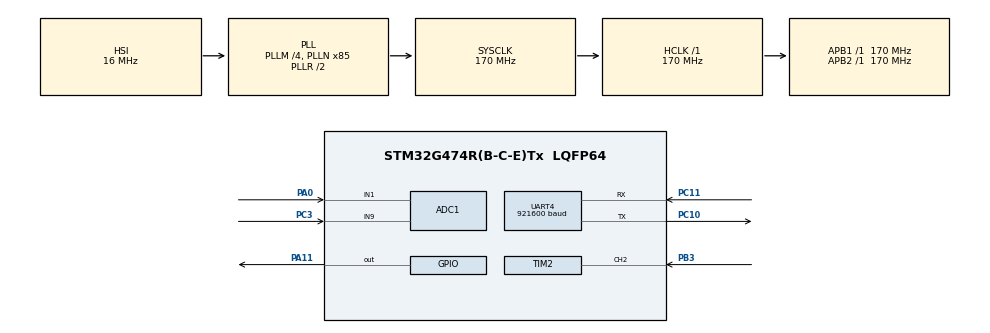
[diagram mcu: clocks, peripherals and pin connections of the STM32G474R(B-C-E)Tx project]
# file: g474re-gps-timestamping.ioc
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ADC1.Channel-0\#ChannelRegularConversion=ADC_CHANNEL_1
ADC1.ClockPrescaler=ADC_CLOCK_SYNC_PCLK_DIV4
ADC1.ContinuousConvMode=DISABLE
ADC1.DMAContinuousRequests=ENABLE
ADC1.EnableRegularConversion=ENABLE
ADC1.ExternalTrigConv=ADC_EXTERNALTRIG_T3_TRGO
ADC1.ExternalTrigConvEdge=ADC_EXTERNALTRIGCONVEDGE_RISING
ADC1.NbrOfConversion=1
ADC1.NbrOfConversionFlag=1
ADC1.OffsetNumber-0\#ChannelRegularConversion=ADC_OFFSET_NONE
ADC1.Overrun=ADC_OVR_DATA_PRESERVED
ADC1.Rank-0\#ChannelRegularConversion=1
ADC1.SamplingTime-0\#ChannelRegularConversion=ADC_SAMPLETIME_2CYCLES_5
ADC1.master=1
Dma.ADC1.1.Direction=DMA_PERIPH_TO_MEMORY
Dma.ADC1.1.EventEnable=DISABLE
Dma.ADC1.1.Instance=DMA1_Channel2
Dma.ADC1.1.MemDataAlignment=DMA_MDATAALIGN_WORD
Dma.ADC1.1.MemInc=DMA_MINC_ENABLE
Dma.ADC1.1.Mode=DMA_CIRCULAR
Dma.ADC1.1.PeriphDataAlignment=DMA_PDATAALIGN_WORD
Dma.ADC1.1.PeriphInc=DMA_PINC_DISABLE
Dma.ADC1.1.Polarity=HAL_DMAMUX_REQ_GEN_RISING
Dma.ADC1.1.Priority=DMA_PRIORITY_LOW
Dma.ADC1.1.RequestNumber=1
Dma.ADC1.1.SignalID=NONE
Dma.ADC1.1.SyncEnable=DISABLE
Dma.ADC1.1.SyncPolarity=HAL_DMAMUX_SYNC_NO_EVENT
Dma.ADC1.1.SyncRequestNumber=1
Dma.ADC1.1.SyncSignalID=NONE
Dma.Request0=TIM2_CH2
Dma.Request1=ADC1
Dma.Request2=TIM3_CH1
Dma.TIM2_CH2.0.Direction=DMA_PERIPH_TO_MEMORY
Dma.TIM2_CH2.0.EventEnable=ENABLE
Dma.TIM2_CH2.0.Instance=DMA1_Channel1
Dma.TIM2_CH2.0.MemDataAlignment=DMA_MDATAALIGN_WORD
Dma.TIM2_CH2.0.MemInc=DMA_MINC_ENABLE
Dma.TIM2_CH2.0.Mode=DMA_CIRCULAR
Dma.TIM2_CH2.0.PeriphDataAlignment=DMA_PDATAALIGN_WORD
Dma.TIM2_CH2.0.PeriphInc=DMA_PINC_DISABLE
Dma.TIM2_CH2.0.Polarity=HAL_DMAMUX_REQ_GEN_RISING
Dma.TIM2_CH2.0.Priority=DMA_PRIORITY_LOW
Dma.TIM2_CH2.0.RequestNumber=1
Dma.TIM2_CH2.0.SignalID=NONE
Dma.TIM2_CH2.0.SyncEnable=DISABLE
Dma.TIM2_CH2.0.SyncPolarity=HAL_DMAMUX_SYNC_NO_EVENT
Dma.TIM2_CH2.0.SyncRequestNumber=1
Dma.TIM2_CH2.0.SyncSignalID=NONE
Dma.TIM3_CH1.2.Direction=DMA_PERIPH_TO_MEMORY
Dma.TIM3_CH1.2.EventEnable=DISABLE
Dma.TIM3_CH1.2.Instance=DMA1_Channel3
Dma.TIM3_CH1.2.MemDataAlignment=DMA_MDATAALIGN_WORD
Dma.TIM3_CH1.2.MemInc=DMA_MINC_ENABLE
Dma.TIM3_CH1.2.Mode=DMA_CIRCULAR
Dma.TIM3_CH1.2.PeriphDataAlignment=DMA_PDATAALIGN_WORD
Dma.TIM3_CH1.2.PeriphInc=DMA_PINC_DISABLE
Dma.TIM3_CH1.2.Polarity=HAL_DMAMUX_REQ_GEN_RISING
Dma.TIM3_CH1.2.Priority=DMA_PRIORITY_LOW
Dma.TIM3_CH1.2.RequestNumber=1
Dma.TIM3_CH1.2.SignalID=NONE
Dma.TIM3_CH1.2.SyncEnable=DISABLE
Dma.TIM3_CH1.2.SyncPolarity=HAL_DMAMUX_SYNC_NO_EVENT
Dma.TIM3_CH1.2.SyncRequestNumber=1
Dma.TIM3_CH1.2.SyncSignalID=NONE
Mcu.Family=STM32G4
Mcu.Name=STM32G474R(B-C-E)Tx
Mcu.Package=LQFP64
NVIC.ADC1_2_IRQn=true\:0\:0\:false\:false\:true\:true\:true\:true
NVIC.DMA1_Channel1_IRQn=true\:0\:0\:false\:false\:true\:false\:true\:true
NVIC.DMA1_Channel2_IRQn=true\:0\:0\:false\:false\:true\:false\:true\:true
NVIC.DMA1_Channel3_IRQn=true\:0\:0\:false\:false\:true\:false\:true\:true
NVIC.DMAMUX_OVR_IRQn=true\:0\:0\:false\:false\:true\:false\:true\:true
NVIC.PriorityGroup=NVIC_PRIORITYGROUP_4
NVIC.TIM2_IRQn=true\:0\:0\:false\:false\:true\:true\:true\:true
NVIC.TIM3_IRQn=true\:0\:0\:false\:false\:true\:true\:true\:true
PA0.Mode=IN1-Single-Ended
PA0.Signal=ADC1_IN1
PA11.Signal=GPIO_Output
PB3.Signal=S_TIM2_CH2
PC10.Mode=Asynchronous
PC10.Signal=UART4_TX
PC11.Mode=Asynchronous
PC11.Signal=UART4_RX
PC14-OSC32_IN.Mode=LSE-External-Oscillator
PC14-OSC32_IN.Signal=RCC_OSC32_IN
PC15-OSC32_OUT.Mode=LSE-External-Oscillator
PC15-OSC32_OUT.Signal=RCC_OSC32_OUT
PC3.Mode=IN9-Single-Ended
PC3.Signal=ADC1_IN9
PF0-OSC_IN.Mode=HSE-External-Oscillator
PF0-OSC_IN.Signal=RCC_OSC_IN
PF1-OSC_OUT.Mode=HSE-External-Oscillator
PF1-OSC_OUT.Signal=RCC_OSC_OUT
ProjectManager.HeapSize=0x200
ProjectManager.StackSize=0x400
ProjectManager.TargetToolchain=STM32CubeIDE
RCC.ADC12Freq_Value=170000000
RCC.ADC345Freq_Value=170000000
RCC.AHBFreq_Value=170000000
RCC.APB1Freq_Value=170000000
RCC.APB1TimFreq_Value=170000000
RCC.APB2Freq_Value=170000000
RCC.APB2TimFreq_Value=170000000
RCC.CortexFreq_Value=170000000
RCC.EXTERNAL_CLOCK_VALUE=12288000
RCC.HCLKFreq_Value=170000000
RCC.HSE_VALUE=8000000
RCC.HSI48_VALUE=48000000
RCC.HSI_VALUE=16000000
RCC.PLLM=RCC_PLLM_DIV4
RCC.PLLN=85
RCC.SYSCLKFreq_VALUE=170000000
RCC.SYSCLKSource=RCC_SYSCLKSOURCE_PLLCLK
RCC.USBFreq_Value=170000000
RCC.VCOOutputFreq_Value=340000000
SH.S_TIM2_CH2.0=TIM2_CH2,Input_Capture2_from_TI2
TIM1.Prescaler=170 - 1
TIM2.AutoReloadPreload=TIM_AUTORELOAD_PRELOAD_ENABLE
TIM2.Channel-Input_Capture2_from_TI2=TIM_CHANNEL_2
TIM2.PeriodNoDither=100000000 - 1
TIM2.Prescaler=17 - 1
TIM3.AutoReloadPreload=TIM_AUTORELOAD_PRELOAD_ENABLE
TIM3.Channel-Output\ Compare1\ No\ Output=TIM_CHANNEL_1
TIM3.PeriodNoDither=tim3Arr
TIM3.Prescaler=0
TIM3.TIM_MasterOutputTrigger=TIM_TRGO_UPDATE
UART4.BaudRate=921600
UART4.Mode=MODE_TX_RX
VP_SYS_VS_DBSignals.Mode=DisableDeadBatterySignals
VP_TIM1_VS_ClockSourceINT.Mode=Internal
VP_TIM2_VS_ClockSourceINT.Mode=Internal
VP_TIM3_VS_ClockSourceINT.Mode=Internal
VP_TIM3_VS_no_output1.Mode=Output Compare1 No Output
board=custom

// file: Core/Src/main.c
/* USER CODE BEGIN Header */
/**
  ******************************************************************************
  * @file           : main.c
  * @brief          : Main program body
  ******************************************************************************
  * @attention
  *
  * Copyright (c) 2025 STMicroelectronics.
  * All rights reserved.
  *
  * This software is licensed under terms that can be found in the LICENSE file
  * in the root directory of this software component.
  * If no LICENSE file comes with this software, it is provided AS-IS.
  *
  ******************************************************************************
  */
/* USER CODE END Header */
#include "main.h"

/* USER CODE BEGIN Includes */
#include <string.h>
#include <stdlib.h>
#include "config.h"
/* USER CODE END Includes */

/* USER CODE BEGIN PTD */
typedef struct
{
  uint32_t magic;
  uint32_t adcTime;
  uint32_t pps1;
  uint32_t pps2;
  uint16_t adcData1;
  uint16_t adcData2;
} MsgType;
/* USER CODE END PTD */

ADC_HandleTypeDef hadc1;
DMA_HandleTypeDef hdma_adc1;

TIM_HandleTypeDef htim1;
TIM_HandleTypeDef htim2;
TIM_HandleTypeDef htim3;
DMA_HandleTypeDef hdma_tim2_ch2;
DMA_HandleTypeDef hdma_tim3_ch1;

UART_HandleTypeDef huart4;

/* USER CODE BEGIN PV */
MsgType msg = {0xDDDDAC00, 11111111, 11111111, 11111111, 1, 1};
const uint32_t sendUartPeriodUs = (uint32_t)(1.0f/(float)UART_SEND_FREQUENCY_HZ * 1e6f);
const uint32_t tim3Arr = (170*1e6 / ADC_SAMPLING_FREQUENCY_HZ);

/* USER CODE END PV */

void SystemClock_Config(void);
static void MX_GPIO_Init(void);
static void MX_DMA_Init(void);
static void MX_UART4_Init(void);
static void MX_TIM2_Init(void);
static void MX_ADC1_Init(void);
static void MX_TIM3_Init(void);
static void MX_TIM1_Init(void);

/* USER CODE BEGIN 0 */
void UartSend(UART_HandleTypeDef *huart, uint8_t* buff, size_t size)
{
  HAL_UART_Transmit(huart, buff, size, HAL_MAX_DELAY);
}

void HAL_TIM_IC_CaptureCallback(TIM_HandleTypeDef *htim)
{
  if (htim == &htim2)
  {
    msg.pps1 = TIM2->CNT;
  }
}

uint32_t GetTimer1Counter()
{
  return __HAL_TIM_GET_COUNTER(&htim1);
}

void ResetTimer1Counter()
{
  __HAL_TIM_SET_COUNTER(&htim1, 0);
}

void Delay_us(uint16_t us)
{
  ResetTimer1Counter();
  while (GetTimer1Counter() < us);
}

/* USER CODE END 0 */

int main(void)
{

  /* MCU Configuration--------------------------------------------------------*/

  /* Reset of all peripherals, Initializes the Flash interface and the Systick. */
  HAL_Init();

  /* Configure the system clock */
  SystemClock_Config();

  /* Initialize all configured peripherals */
  MX_GPIO_Init();
  MX_DMA_Init();
  MX_UART4_Init();
  MX_TIM2_Init();
  MX_ADC1_Init();
  MX_TIM3_Init();
  MX_TIM1_Init();
  /* USER CODE BEGIN 2 */

  if (HAL_OK != HAL_TIM_Base_Start(&htim1))
    {
      Error_Handler ();
    }

  if (HAL_OK != HAL_TIM_OC_Start(&htim3, TIM_CHANNEL_1))
  {
    Error_Handler ();
  }

  if (HAL_OK != HAL_ADCEx_Calibration_Start(&hadc1, ADC_SINGLE_ENDED))
  {
    Error_Handler();
  }

  if (HAL_ADC_Start_DMA(&hadc1, (uint32_t*)&msg.adcData1, 1) != HAL_OK)
  {
    Error_Handler();
  }

  //TIMER2 Input Capture CH2 -> pps signal
  if (HAL_OK != HAL_TIM_IC_Start_IT(&htim2, TIM_CHANNEL_2))
  {
    Error_Handler ();
  }

  if (HAL_OK != HAL_DMA_Start(&hdma_tim3_ch1, (uint32_t)&(TIM2->CNT), (uint32_t)&(msg.adcTime), (uint32_t)1))
  {
    Error_Handler ();
  }

  __HAL_TIM_ENABLE_DMA(&htim3, TIM_DMA_CC1);

  /* USER CODE END 2 */

  /* Infinite loop */
  while (1)
  {

    /* USER CODE BEGIN 3 */

    //start measuring execution time
    ResetTimer1Counter();

    MsgType tempMsg = {0};
    //disabling interrupt will prevent a spike in PPS (data race: uart reading msg, pps writing to msg)
    HAL_NVIC_DisableIRQ(TIM2_IRQn);
    memcpy(&tempMsg, &msg, sizeof(MsgType));
    HAL_NVIC_EnableIRQ(TIM2_IRQn);

    UartSend(&huart4, (uint8_t*)&tempMsg, sizeof(MsgType));

    uint32_t executionTimeUs = GetTimer1Counter();
    Delay_us(executionTimeUs < sendUartPeriodUs ? sendUartPeriodUs - executionTimeUs : 0u);
  }
  /* USER CODE END 3 */
}

void SystemClock_Config(void)
{
  RCC_OscInitTypeDef RCC_OscInitStruct = {0};
  RCC_ClkInitTypeDef RCC_ClkInitStruct = {0};

  /** Configure the main internal regulator output voltage
  */
  HAL_PWREx_ControlVoltageScaling(PWR_REGULATOR_VOLTAGE_SCALE1_BOOST);

  /** Initializes the RCC Oscillators according to the specified parameters
  * in the RCC_OscInitTypeDef structure.
  */
  RCC_OscInitStruct.OscillatorType = RCC_OSCILLATORTYPE_HSI;
  RCC_OscInitStruct.HSIState = RCC_HSI_ON;
  RCC_OscInitStruct.HSICalibrationValue = RCC_HSICALIBRATION_DEFAULT;
  RCC_OscInitStruct.PLL.PLLState = RCC_PLL_ON;
  RCC_OscInitStruct.PLL.PLLSource = RCC_PLLSOURCE_HSI;
  RCC_OscInitStruct.PLL.PLLM = RCC_PLLM_DIV4;
  RCC_OscInitStruct.PLL.PLLN = 85;
  RCC_OscInitStruct.PLL.PLLP = RCC_PLLP_DIV2;
  RCC_OscInitStruct.PLL.PLLQ = RCC_PLLQ_DIV2;
  RCC_OscInitStruct.PLL.PLLR = RCC_PLLR_DIV2;
  if (HAL_RCC_OscConfig(&RCC_OscInitStruct) != HAL_OK)
  {
    Error_Handler();
  }

  /** Initializes the CPU, AHB and APB buses clocks
  */
  RCC_ClkInitStruct.ClockType = RCC_CLOCKTYPE_HCLK|RCC_CLOCKTYPE_SYSCLK
                              |RCC_CLOCKTYPE_PCLK1|RCC_CLOCKTYPE_PCLK2;
  RCC_ClkInitStruct.SYSCLKSource = RCC_SYSCLKSOURCE_PLLCLK;
  RCC_ClkInitStruct.AHBCLKDivider = RCC_SYSCLK_DIV1;
  RCC_ClkInitStruct.APB1CLKDivider = RCC_HCLK_DIV1;
  RCC_ClkInitStruct.APB2CLKDivider = RCC_HCLK_DIV1;

  if (HAL_RCC_ClockConfig(&RCC_ClkInitStruct, FLASH_LATENCY_4) != HAL_OK)
  {
    Error_Handler();
  }
}

static void MX_ADC1_Init(void)
{

  ADC_MultiModeTypeDef multimode = {0};
  ADC_ChannelConfTypeDef sConfig = {0};

  /** Common config
  */
  hadc1.Instance = ADC1;
  hadc1.Init.ClockPrescaler = ADC_CLOCK_SYNC_PCLK_DIV4;
  hadc1.Init.Resolution = ADC_RESOLUTION_12B;
  hadc1.Init.DataAlign = ADC_DATAALIGN_RIGHT;
  hadc1.Init.GainCompensation = 0;
  hadc1.Init.ScanConvMode = ADC_SCAN_DISABLE;
  hadc1.Init.EOCSelection = ADC_EOC_SINGLE_CONV;
  hadc1.Init.LowPowerAutoWait = DISABLE;
  hadc1.Init.ContinuousConvMode = DISABLE;
  hadc1.Init.NbrOfConversion = 1;
  hadc1.Init.DiscontinuousConvMode = DISABLE;
  hadc1.Init.ExternalTrigConv = ADC_EXTERNALTRIG_T3_TRGO;
  hadc1.Init.ExternalTrigConvEdge = ADC_EXTERNALTRIGCONVEDGE_RISING;
  hadc1.Init.DMAContinuousRequests = ENABLE;
  hadc1.Init.Overrun = ADC_OVR_DATA_PRESERVED;
  hadc1.Init.OversamplingMode = DISABLE;
  if (HAL_ADC_Init(&hadc1) != HAL_OK)
  {
    Error_Handler();
  }

  /** Configure the ADC multi-mode
  */
  multimode.Mode = ADC_MODE_INDEPENDENT;
  if (HAL_ADCEx_MultiModeConfigChannel(&hadc1, &multimode) != HAL_OK)
  {
    Error_Handler();
  }

  /** Configure Regular Channel
  */
  sConfig.Channel = ADC_CHANNEL_1;
  sConfig.Rank = ADC_REGULAR_RANK_1;
  sConfig.SamplingTime = ADC_SAMPLETIME_2CYCLES_5;
  sConfig.SingleDiff = ADC_SINGLE_ENDED;
  sConfig.OffsetNumber = ADC_OFFSET_NONE;
  sConfig.Offset = 0;
  if (HAL_ADC_ConfigChannel(&hadc1, &sConfig) != HAL_OK)
  {
    Error_Handler();
  }

}

static void MX_TIM1_Init(void)
{

  TIM_ClockConfigTypeDef sClockSourceConfig = {0};
  TIM_MasterConfigTypeDef sMasterConfig = {0};

  htim1.Instance = TIM1;
  htim1.Init.Prescaler = 170 - 1;
  htim1.Init.CounterMode = TIM_COUNTERMODE_UP;
  htim1.Init.Period = 65535;
  htim1.Init.ClockDivision = TIM_CLOCKDIVISION_DIV1;
  htim1.Init.RepetitionCounter = 0;
  htim1.Init.AutoReloadPreload = TIM_AUTORELOAD_PRELOAD_DISABLE;
  if (HAL_TIM_Base_Init(&htim1) != HAL_OK)
  {
    Error_Handler();
  }
  sClockSourceConfig.ClockSource = TIM_CLOCKSOURCE_INTERNAL;
  if (HAL_TIM_ConfigClockSource(&htim1, &sClockSourceConfig) != HAL_OK)
  {
    Error_Handler();
  }
  sMasterConfig.MasterOutputTrigger = TIM_TRGO_RESET;
  sMasterConfig.MasterOutputTrigger2 = TIM_TRGO2_RESET;
  sMasterConfig.MasterSlaveMode = TIM_MASTERSLAVEMODE_DISABLE;
  if (HAL_TIMEx_MasterConfigSynchronization(&htim1, &sMasterConfig) != HAL_OK)
  {
    Error_Handler();
  }

}

static void MX_TIM2_Init(void)
{

  TIM_ClockConfigTypeDef sClockSourceConfig = {0};
  TIM_MasterConfigTypeDef sMasterConfig = {0};
  TIM_IC_InitTypeDef sConfigIC = {0};

  htim2.Instance = TIM2;
  htim2.Init.Prescaler = 17 - 1;
  htim2.Init.CounterMode = TIM_COUNTERMODE_UP;
  htim2.Init.Period = 99999999;
  htim2.Init.ClockDivision = TIM_CLOCKDIVISION_DIV1;
  htim2.Init.AutoReloadPreload = TIM_AUTORELOAD_PRELOAD_ENABLE;
  if (HAL_TIM_Base_Init(&htim2) != HAL_OK)
  {
    Error_Handler();
  }
  sClockSourceConfig.ClockSource = TIM_CLOCKSOURCE_INTERNAL;
  if (HAL_TIM_ConfigClockSource(&htim2, &sClockSourceConfig) != HAL_OK)
  {
    Error_Handler();
  }
  if (HAL_TIM_IC_Init(&htim2) != HAL_OK)
  {
    Error_Handler();
  }
  sMasterConfig.MasterOutputTrigger = TIM_TRGO_RESET;
  sMasterConfig.MasterSlaveMode = TIM_MASTERSLAVEMODE_DISABLE;
  if (HAL_TIMEx_MasterConfigSynchronization(&htim2, &sMasterConfig) != HAL_OK)
  {
    Error_Handler();
  }
  sConfigIC.ICPolarity = TIM_INPUTCHANNELPOLARITY_RISING;
  sConfigIC.ICSelection = TIM_ICSELECTION_DIRECTTI;
  sConfigIC.ICPrescaler = TIM_ICPSC_DIV1;
  sConfigIC.ICFilter = 0;
  if (HAL_TIM_IC_ConfigChannel(&htim2, &sConfigIC, TIM_CHANNEL_2) != HAL_OK)
  {
    Error_Handler();
  }

}

static void MX_TIM3_Init(void)
{

  TIM_ClockConfigTypeDef sClockSourceConfig = {0};
  TIM_MasterConfigTypeDef sMasterConfig = {0};
  TIM_OC_InitTypeDef sConfigOC = {0};

  htim3.Instance = TIM3;
  htim3.Init.Prescaler = 0;
  htim3.Init.CounterMode = TIM_COUNTERMODE_UP;
  htim3.Init.Period = tim3Arr;
  htim3.Init.ClockDivision = TIM_CLOCKDIVISION_DIV1;
  htim3.Init.AutoReloadPreload = TIM_AUTORELOAD_PRELOAD_ENABLE;
  if (HAL_TIM_Base_Init(&htim3) != HAL_OK)
  {
    Error_Handler();
  }
  sClockSourceConfig.ClockSource = TIM_CLOCKSOURCE_INTERNAL;
  if (HAL_TIM_ConfigClockSource(&htim3, &sClockSourceConfig) != HAL_OK)
  {
    Error_Handler();
  }
  if (HAL_TIM_OC_Init(&htim3) != HAL_OK)
  {
    Error_Handler();
  }
  sMasterConfig.MasterOutputTrigger = TIM_TRGO_UPDATE;
  sMasterConfig.MasterSlaveMode = TIM_MASTERSLAVEMODE_DISABLE;
  if (HAL_TIMEx_MasterConfigSynchronization(&htim3, &sMasterConfig) != HAL_OK)
  {
    Error_Handler();
  }
  sConfigOC.OCMode = TIM_OCMODE_TIMING;
  sConfigOC.Pulse = 0;
  sConfigOC.OCPolarity = TIM_OCPOLARITY_HIGH;
  sConfigOC.OCFastMode = TIM_OCFAST_DISABLE;
  if (HAL_TIM_OC_ConfigChannel(&htim3, &sConfigOC, TIM_CHANNEL_1) != HAL_OK)
  {
    Error_Handler();
  }

}

static void MX_UART4_Init(void)
{

  huart4.Instance = UART4;
  huart4.Init.BaudRate = 921600;
  huart4.Init.WordLength = UART_WORDLENGTH_8B;
  huart4.Init.StopBits = UART_STOPBITS_1;
  huart4.Init.Parity = UART_PARITY_NONE;
  huart4.Init.Mode = UART_MODE_TX_RX;
  huart4.Init.HwFlowCtl = UART_HWCONTROL_NONE;
  huart4.Init.OverSampling = UART_OVERSAMPLING_16;
  huart4.Init.OneBitSampling = UART_ONE_BIT_SAMPLE_DISABLE;
  huart4.Init.ClockPrescaler = UART_PRESCALER_DIV1;
  huart4.AdvancedInit.AdvFeatureInit = UART_ADVFEATURE_NO_INIT;
  if (HAL_UART_Init(&huart4) != HAL_OK)
  {
    Error_Handler();
  }
  if (HAL_UARTEx_SetTxFifoThreshold(&huart4, UART_TXFIFO_THRESHOLD_1_8) != HAL_OK)
  {
    Error_Handler();
  }
  if (HAL_UARTEx_SetRxFifoThreshold(&huart4, UART_RXFIFO_THRESHOLD_1_8) != HAL_OK)
  {
    Error_Handler();
  }
  if (HAL_UARTEx_DisableFifoMode(&huart4) != HAL_OK)
  {
    Error_Handler();
  }

}

static void MX_DMA_Init(void)
{

  /* DMA controller clock enable */
  __HAL_RCC_DMAMUX1_CLK_ENABLE();
  __HAL_RCC_DMA1_CLK_ENABLE();

  /* DMA interrupt init */
  /* DMA1_Channel1_IRQn interrupt configuration */
  HAL_NVIC_SetPriority(DMA1_Channel1_IRQn, 0, 0);
  HAL_NVIC_EnableIRQ(DMA1_Channel1_IRQn);
  /* DMA1_Channel2_IRQn interrupt configuration */
  HAL_NVIC_SetPriority(DMA1_Channel2_IRQn, 0, 0);
  HAL_NVIC_EnableIRQ(DMA1_Channel2_IRQn);
  /* DMA1_Channel3_IRQn interrupt configuration */
  HAL_NVIC_SetPriority(DMA1_Channel3_IRQn, 0, 0);
  HAL_NVIC_EnableIRQ(DMA1_Channel3_IRQn);
  /* DMAMUX_OVR_IRQn interrupt configuration */
  HAL_NVIC_SetPriority(DMAMUX_OVR_IRQn, 0, 0);
  HAL_NVIC_EnableIRQ(DMAMUX_OVR_IRQn);

}

static void MX_GPIO_Init(void)
{
  GPIO_InitTypeDef GPIO_InitStruct = {0};

  /* GPIO Ports Clock Enable */
  __HAL_RCC_GPIOC_CLK_ENABLE();
  __HAL_RCC_GPIOF_CLK_ENABLE();
  __HAL_RCC_GPIOA_CLK_ENABLE();
  __HAL_RCC_GPIOB_CLK_ENABLE();

  /*Configure GPIO pin Output Level */
  HAL_GPIO_WritePin(GPIOA, GPIO_PIN_11, GPIO_PIN_RESET);

  /*Configure GPIO pin : PA11 */
  GPIO_InitStruct.Pin = GPIO_PIN_11;
  GPIO_InitStruct.Mode = GPIO_MODE_OUTPUT_PP;
  GPIO_InitStruct.Pull = GPIO_NOPULL;
  GPIO_InitStruct.Speed = GPIO_SPEED_FREQ_LOW;
  HAL_GPIO_Init(GPIOA, &GPIO_InitStruct);

}

void Error_Handler(void)
{
  __disable_irq();
  while (1)
  {
  }
}
